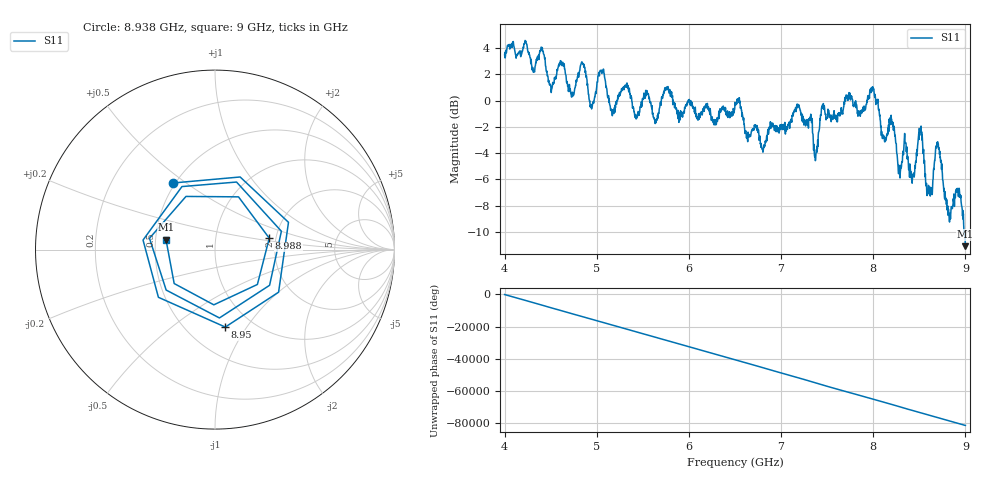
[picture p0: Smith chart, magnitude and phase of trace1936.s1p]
! Created with skrf 1.8.0 (http://scikit-rf.org).
# Hz S RI R 50.0
!freq ReS11 ImS11
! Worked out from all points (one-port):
!   1601 points, 4 GHz to 9 GHz, reference 50 ohm
!   lowest |S11| = -11.1 dB at 9 GHz (marker M1), VSWR 1.77, Z = 28.4 + j3.45 ohm
!   |S11| at or under -10 dB: 8.985711 GHz to end of sweep
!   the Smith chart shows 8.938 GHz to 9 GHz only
!   S11 on the Smith chart (normalised r, x): 8.938 GHz: 0.49, +0.45; 8.95 GHz: 0.75, -0.80; 8.988 GHz: 1.84, +0.26; 9 GHz: 0.57, +0.07
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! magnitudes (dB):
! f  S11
! 4 GHz  3.5
! 4.509 GHz  0.9
! 4.625 GHz  2.7
! 4.734 GHz  0.7
! 4.853 GHz  2.8
! 4.944 GHz  -0.6
! 5.05 GHz  2.3
! 5.162 GHz  -0.7
! 5.25 GHz  0.4
! 5.875 GHz  -0.9
! 6.5 GHz  -0.1
! 6.8 GHz  -3.7
! 7.125 GHz  -1.1
! 7.375 GHz  -4.5
! 7.447 GHz  -0.3
! 7.75 GHz  0.4
! 7.988 GHz  0.7
! 8.112 GHz  -2.8
! 8.375 GHz  -4.3
! 8.431 GHz  -5.6
! 8.509 GHz  -2.3
! 8.603 GHz  -7.1
! 8.697 GHz  -3.1
! 8.819 GHz  -8.5
! 8.938 GHz  -7.2
! 8.95 GHz  -7.2
! 8.988 GHz  -10.2
! 9 GHz  -11.1
